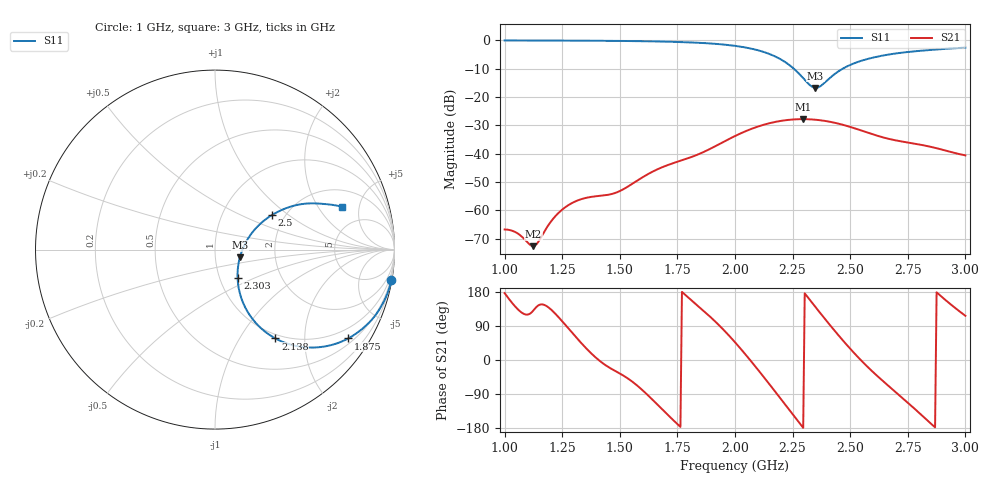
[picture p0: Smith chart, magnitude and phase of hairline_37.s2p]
! TOUCHSTONE file generated by CST MICROWAVE STUDIO
! Date and time: Tue Mar 18 20:31:51 2025
! Project name: hairline.cst
! Parameters = {B=12.5; D=160; F=15; Feed=2.85625; Fracture=0.5; L=100; M=30; R=0.384908; S=1.5; Theta=270; length=57.125; wave=114.25}
! Header version: 2024
! Port assignment regex: !\s*Touchstone port\s*([0-9]+)\s*=\s*(CST MWS port|CST DES external port|CST DES block port)\s*(.+)\s* \(\"(.*)\"\)(\s*mode\s*([0-9]+))?.*
! Touchstone port assignment:
! Touchstone port 1 = CST MWS port 1 ("")
! Touchstone port 2 = CST MWS port 2 ("")
# GHz S DB R 50
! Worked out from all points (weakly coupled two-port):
!   305 points, 1 GHz to 3 GHz, reference 50 ohm
!   highest |S21| = -27.80 dB at 2.296 GHz (marker M1); lowest = -72.7 dB at 1.125 GHz (marker M2)
!   lowest |S11| = -16.8 dB at 2.349 GHz (marker M3), VSWR 1.34, Z = 65.8 - j5.75 ohm
!   |S11| at or under -10 dB: 2.255 GHz to 2.467 GHz (212 MHz wide, 8.98 % of centre)
!   S12 and S22 are empty: the file has one direction only
!   S11 on the Smith chart (normalised r, x): 1 GHz: 0, -12; 1.875 GHz: 0.66, -3.18; 2.138 GHz: 0.94, -1.44; 2.303 GHz: 1.22, -0.40; 2.5 GHz: 1.71, +0.76; 3 GHz: 3.11, +3.34
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1  -0.02 -9.7  -66.76 176.6  -200.00 0.0  -200.00 0.0
1.05263  -0.03 -10.4  -67.96 136.7  -200.00 0.0  -200.00 0.0
1.125  -0.04 -11.5  -72.66 130.8  -200.00 0.0  -200.00 0.0
1.14474  -0.04 -11.8  -71.31 143.4  -200.00 0.0  -200.00 0.0
1.19079  -0.05 -12.5  -65.14 138.6  -200.00 0.0  -200.00 0.0
1.23026  -0.06 -13.2  -61.22 115.5  -200.00 0.0  -200.00 0.0
1.28289  -0.08 -14.1  -57.87 79.1  -200.00 0.0  -200.00 0.0
1.33553  -0.09 -15.1  -55.99 42.9  -200.00 0.0  -200.00 0.0
1.48684  -0.18 -18.5  -53.66 -31.2  -200.00 0.0  -200.00 0.0
1.67105  -0.39 -24.1  -45.24 -122.3  -200.00 0.0  -200.00 0.0
1.875  -0.99 -33.7  -38.98 123.6  -200.00 0.0  -200.00 0.0
2  -1.93 -42.7  -33.77 46.9  -200.00 0.0  -200.00 0.0
2.13816  -4.46 -55.8  -29.48 -55.2  -200.00 0.0  -200.00 0.0
2.22368  -7.98 -62.2  -28.14 -122.1  -200.00 0.0  -200.00 0.0
2.29605  -13.32 -54.0  -27.80 -178.9  -200.00 0.0  -200.00 0.0
2.30263  -13.91 -51.4  -27.81 175.9  -200.00 0.0  -200.00 0.0
2.33553  -16.41 -29.4  -27.92 150.3  -200.00 0.0  -200.00 0.0
2.34868  -16.76 -17.1  -28.01 140.2  -200.00 0.0  -200.00 0.0
2.42105  -12.63 25.3  -28.88 85.6  -200.00 0.0  -200.00 0.0
2.5  -8.66 31.2  -30.55 29.8  -200.00 0.0  -200.00 0.0
2.67105  -4.94 26.9  -34.84 -70.8  -200.00 0.0  -200.00 0.0
3  -2.54 18.6  -40.60 116.7  -200.00 0.0  -200.00 0.0
